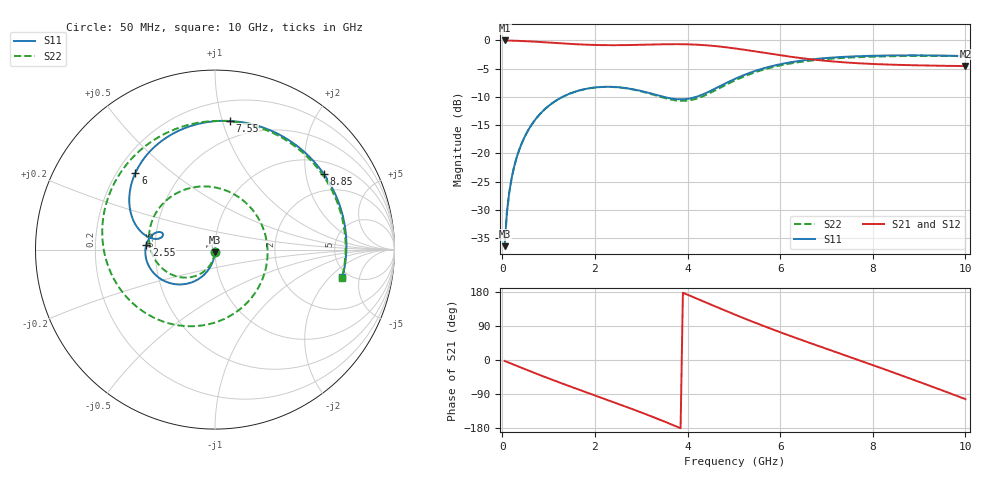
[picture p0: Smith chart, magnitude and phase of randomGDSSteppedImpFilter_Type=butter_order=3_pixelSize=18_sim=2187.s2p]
! freq	dB(S11)	phase(S11)	dB(S12)	phase(S12)
!  dB(S21)	phase(S21)	dB(S22)	phase(S22)
!S-par simulation data
#  GHz  S  DB  R 50
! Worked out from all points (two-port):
!   200 points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, 50 MHz to 10 GHz, reference 50 ohm
!   highest |S21| = 0.00 dB at 50 MHz (marker M1); lowest = -4.5 dB at 10 GHz (marker M2)
!   |S21| within 3 dB of the highest: start of sweep to 6.334 GHz
!   lowest |S11| = -36.4 dB at 50 MHz (marker M3), VSWR 1.03, Z = 49.9 - j1.5 ohm
!   |S11| at or under -10 dB: start of sweep to 1.3 GHz; 3.487 GHz to 4.185 GHz (697.9 MHz wide, 18.2 % of centre)
!   |S22| runs from -36.4 to -2.7 dB; largest |S21 - S12| = 0
!   S11 on the Smith chart (normalised r, x): 50 MHz: 1.00, -0.03; 2.55 GHz: 0.45, +0.03; 6 GHz: 0.27, +0.38; 7.55 GHz: 0.35, +1.06; 8.85 GHz: 1.36, +2.53; 10 GHz: 4.37, -2.86
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0.05  -36.44 -92.2  -0.00 -2.5  -0.00 -2.5  -36.44 -92.8
0.1  -30.43 -94.5  -0.01 -5.0  -0.01 -5.0  -30.44 -95.8
0.2  -24.47 -99.1  -0.03 -10.0  -0.03 -10.0  -24.47 -101.6
0.35  -19.73 -105.7  -0.08 -17.4  -0.08 -17.4  -19.74 -110.0
0.5  -16.80 -112.2  -0.13 -24.7  -0.13 -24.7  -16.81 -118.4
1.1  -10.98 -136.6  -0.42 -53.2  -0.42 -53.2  -10.99 -151.0
1.75  -8.68 -160.2  -0.73 -82.5  -0.73 -82.5  -8.69 174.0
2.55  -8.32 175.9  -0.84 -117.8  -0.84 -117.8  -8.35 127.6
3  -8.96 166.3  -0.77 -138.3  -0.77 -138.3  -9.03 96.3
3.4  -9.82 162.3  -0.69 -157.4  -0.69 -157.4  -9.96 62.4
3.8  -10.42 164.1  -0.66 -177.4  -0.66 -177.4  -10.67 20.8
4.2  -9.96 168.8  -0.75 162.1  -0.75 162.1  -10.29 -25.5
4.65  -8.31 169.0  -1.04 138.8  -1.04 138.8  -8.62 -72.8
5.05  -6.72 162.8  -1.44 118.5  -1.44 118.5  -6.99 -107.2
5.5  -5.29 151.4  -1.99 96.5  -1.99 96.5  -5.53 -139.4
6  -4.22 136.1  -2.62 73.4  -2.62 73.4  -4.43 -170.2
6.7  -3.34 113.0  -3.37 42.5  -3.37 42.5  -3.54 151.6
7.55  -2.84 83.5  -3.97 6.0  -3.97 6.0  -3.01 108.4
8.35  -2.66 54.2  -4.28 -28.7  -4.28 -28.7  -2.80 68.6
8.85  -2.64 35.0  -4.39 -50.9  -4.39 -50.9  -2.74 43.9
9.45  -2.67 10.9  -4.48 -77.9  -4.48 -77.9  -2.74 14.3
10  -2.78 -12.3  -4.54 -103.2  -4.54 -103.2  -2.80 -12.8
